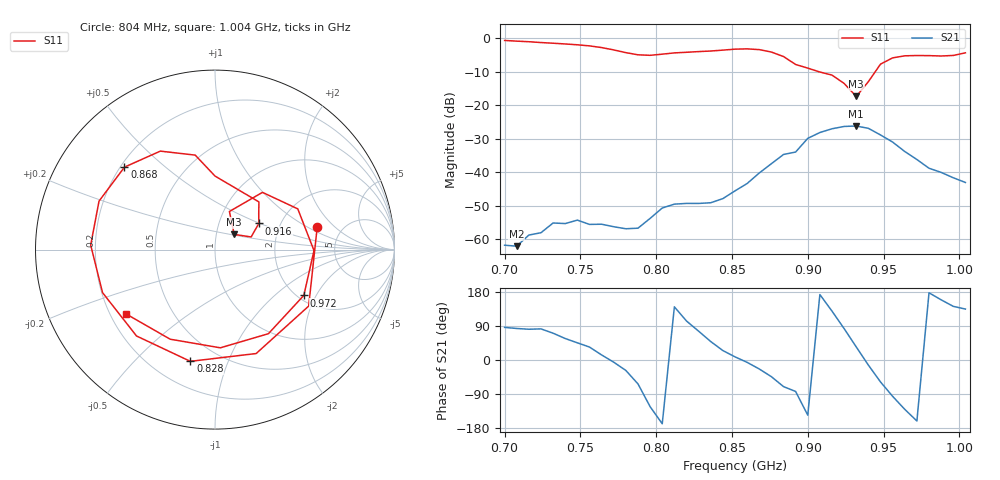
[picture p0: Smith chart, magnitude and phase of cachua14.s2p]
# Hz S RI R 50
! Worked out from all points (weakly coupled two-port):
!   39 points, 700 MHz to 1.004 GHz, reference 50 ohm
!   highest |S21| = -26.13 dB at 932 MHz (marker M1); lowest = -62.0 dB at 708 MHz (marker M2)
!   lowest |S11| = -17.3 dB at 932 MHz (marker M3), VSWR 1.32, Z = 61 + j10.5 ohm
!   |S11| at or under -10 dB: 907.9 MHz to 944.4 MHz (36.48 MHz wide, 3.94 % of centre)
!   S12 and S22 are empty: the file has one direction only
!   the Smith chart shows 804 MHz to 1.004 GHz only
!   S11 on the Smith chart (normalised r, x): 804 MHz: 3.27, +1.26; 828 MHz: 0.35, -0.74; 868 MHz: 0.22, +0.37; 916 MHz: 1.55, +0.49; 972 MHz: 2.15, -1.59; 1.004 GHz: 0.27, -0.30
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7e8  0.7681 0.5328  5.62e-05 0.000819  0 0  0 0
7.08e8  0.8676 0.2851  9.43e-05 0.000789  0 0  0 0
7.32e8  0.6785 -0.5122  0.000583 0.00166  0 0  0 0
7.56e8  -0.2017 -0.7492  0.00139 0.000943  0 0  0 0
7.72e8  -0.6509 -0.1801  0.00154 -0.000156  0 0  0 0
7.8e8  -0.5675 0.2367  0.00128 -0.000671  0 0  0 0
7.88e8  -0.2104 0.5307  0.000666 -0.00132  0 0  0 0
7.96e8  0.2699 0.4918  -0.00113 -0.00173  0 0  0 0
8.04e8  0.5697 0.1273  -0.00289 -0.0006  0 0  0 0
8.2e8  0.2294 -0.579  -0.000772 0.00337  0 0  0 0
8.28e8  -0.1374 -0.6226  0.000833 0.00335  0 0  0 0
8.52e8  -0.6926 0.0253  0.00526 0.000765  0 0  0 0
8.68e8  -0.5043 0.4595  0.009 -0.00395  0 0  0 0
8.84e8  -0.1102 0.5264  0.0063 -0.0175  0 0  0 0
9.08e8  0.2437 0.2009  -0.0392 0.00505  0 0  0 0
9.16e8  0.2442 0.1455  -0.0282 0.0349  0 0  0 0
9.32e8  0.1071 0.0846  0.0407 0.028  0 0  0 0
9.4e8  0.0803 0.2123  0.0444 -0.0107  0 0  0 0
9.56e8  0.4612 0.227  -0.0029 -0.0283  0 0  0 0
9.72e8  0.4949 -0.2552  -0.0148 -0.0051  0 0  0 0
9.88e8  0.0297 -0.5472  -0.00936 0.00363  0 0  0 0
1.004e9  -0.4948 -0.3588  -0.00496 0.00507  0 0  0 0
